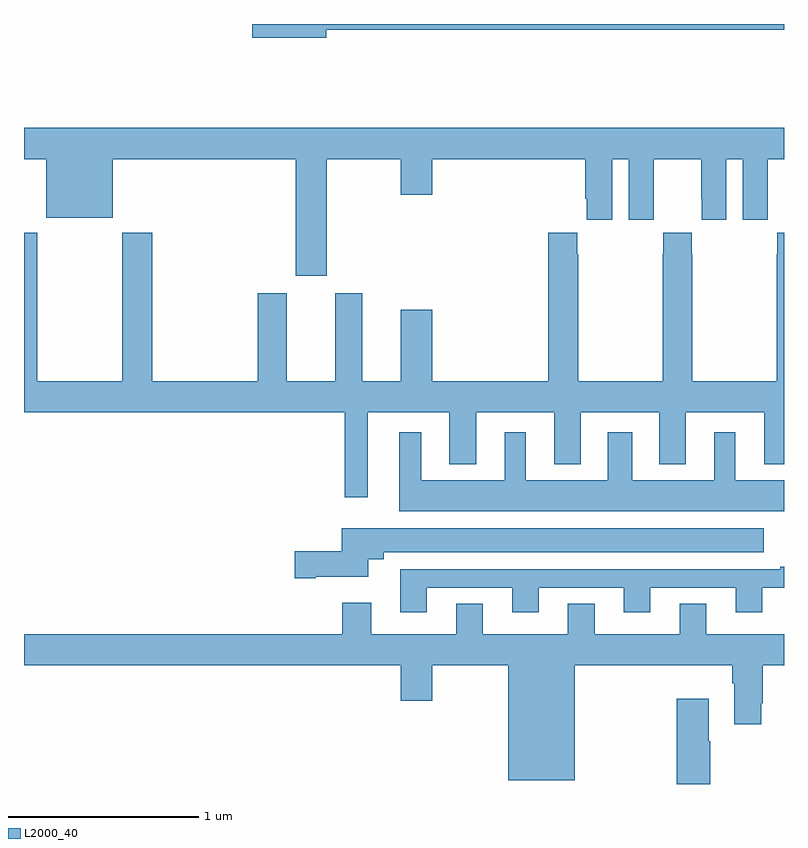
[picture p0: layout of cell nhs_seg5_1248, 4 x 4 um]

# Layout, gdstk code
import gdstk
lib = gdstk.Library(unit=1e-6, precision=1e-09)
def P(c, l, *ps):  # polygons
    for p in ps: c.add(gdstk.Polygon(p, *l))
L2000_40 = (2000, 40)

nhs_seg5_1248 = lib.new_cell('nhs_seg5_1248')
P(nhs_seg5_1248, L2000_40, [(188.59,862.768),(191,862.768),(191,862.799),(188.202,862.799),(188.202,862.726),(188.59,862.726)],
  [(187,862.088),(187.118,862.088),(187.118,861.779),(187.468,861.779),(187.468,862.088),(188.429,862.088),(188.429,861.474),(188.593,861.474),(188.593,862.088),(188.984,862.088),(188.984,861.9),(189.148,861.9),(189.148,862.088),(189.953,862.088),(189.953,861.88),(189.962,861.88),(189.962,861.768),(190.096,861.768),(190.096,862.088),(190.184,862.088),(190.184,861.768),(190.314,861.768),(190.314,861.88),(190.315,861.88),(190.315,862.088),(190.565,862.088),(190.565,861.88),(190.566,861.88),(190.566,861.768),(190.696,861.768),(190.696,862.088),(190.784,862.088),(190.784,861.768),(190.914,861.768),(190.914,861.88),(190.915,861.88),(190.915,862.088),(191,862.088),(191,862.252),(187,862.252)],
  [(188.809,860.756),(189.239,860.756),(189.239,860.483),(189.379,860.483),(189.379,860.756),(189.791,860.756),(189.791,860.483),(189.931,860.483),(189.931,860.756),(190.343,860.756),(190.343,860.483),(190.483,860.483),(190.483,860.756),(190.895,860.756),(190.895,860.483),(191,860.483),(191,861.7),(190.965,861.7),(190.965,861.587),(190.963,861.587),(190.963,860.92),(190.518,860.92),(190.518,861.587),(190.515,861.587),(190.515,861.7),(190.365,861.7),(190.365,861.587),(190.363,861.587),(190.363,860.92),(189.918,860.92),(189.918,861.587),(189.911,861.587),(189.911,861.7),(189.758,861.7),(189.758,860.92),(189.148,860.92),(189.148,861.295),(188.984,861.295),(188.984,860.92),(188.779,860.92),(188.779,861.382),(188.639,861.382),(188.639,860.92),(188.383,860.92),(188.383,861.382),(188.231,861.382),(188.231,860.92),(187.676,860.92),(187.676,861.7),(187.516,861.7),(187.516,860.92),(187.071,860.92),(187.071,861.7),(187,861.7),(187,860.756),(188.688,860.756),(188.688,860.307),(188.809,860.307)],
  [(191,860.398),(190.744,860.398),(190.744,860.65),(190.634,860.65),(190.634,860.398),(190.201,860.398),(190.201,860.65),(190.073,860.65),(190.073,860.398),(189.64,860.398),(189.64,860.65),(189.53,860.65),(189.53,860.398),(189.091,860.398),(189.091,860.65),(188.975,860.65),(188.975,860.234),(191,860.234)],
  [(188.536,859.889),(188.812,859.889),(188.812,859.982),(188.893,859.982),(188.893,860.018),(190.894,860.018),(190.894,860.146),(188.672,860.146),(188.672,860.024),(188.424,860.024),(188.424,859.882),(188.536,859.882)],
  [(189.121,859.833),(189.569,859.833),(189.569,859.704),(189.709,859.704),(189.709,859.833),(190.157,859.833),(190.157,859.704),(190.297,859.704),(190.297,859.833),(190.745,859.833),(190.745,859.704),(190.885,859.704),(190.885,859.833),(191,859.833),(191,859.942),(190.981,859.942),(190.981,859.929),(188.981,859.929),(188.981,859.704),(189.121,859.704)],
  [(189.898,859.424),(190.727,859.424),(190.727,859.328),(190.739,859.328),(190.739,859.113),(190.879,859.113),(190.879,859.225),(190.887,859.225),(190.887,859.424),(191,859.424),(191,859.588),(190.591,859.588),(190.591,859.748),(190.451,859.748),(190.451,859.588),(190.003,859.588),(190.003,859.748),(189.863,859.748),(189.863,859.588),(189.415,859.588),(189.415,859.748),(189.275,859.748),(189.275,859.588),(188.827,859.588),(188.827,859.753),(188.675,859.753),(188.675,859.588),(187,859.588),(187,859.424),(188.984,859.424),(188.984,859.236),(189.148,859.236),(189.148,859.424),(189.548,859.424),(189.548,858.818),(189.898,858.818)],
  [(190.611,859.025),(190.603,859.025),(190.603,859.249),(190.436,859.249),(190.436,858.799),(190.611,858.799)])

lib.write_gds('nhs_seg5_1248.gds')
